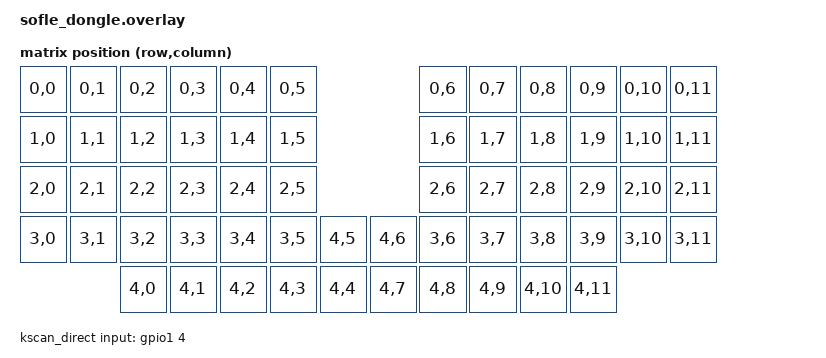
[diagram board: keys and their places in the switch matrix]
#include <dt-bindings/zmk/matrix_transform.h>
#include <layouts/josefadamcik/sofle.dtsi>
#include <dt-bindings/led/led.h>
#include <zephyr/dt-bindings/i2c/i2c.h>

&josefadamcik_sofle_layout {
    transform = <&default_transform>;
};

/* переопределил шину для подсветки */
&pinctrl {
    spi2_default: spi2_default {
        group1 {
            psels = <NRF_PSEL(SPIM_MOSI, 1, 5)>,
                    <NRF_PSEL(SPIM_SCK,  1, 6)>;
        };
    };

    spi2_sleep: spi2_sleep {
        group1 {
            psels = <NRF_PSEL(SPIM_MOSI, 1, 5)>,
                    <NRF_PSEL(SPIM_SCK,  1, 6)>;
            low-power-enable;
        };
    };
};

/* инициализация подсветки на донгле чтобы использовалась на половинках */
&spi2 {
    compatible = "nordic,nrf-spim";
    status = "okay";

    pinctrl-0 = <&spi2_default>;
    pinctrl-1 = <&spi2_sleep>;
    pinctrl-names = "default", "sleep";

    led_strip: ws2812@0 {
        compatible = "worldsemi,ws2812-spi";
        reg = <0>;
        spi-max-frequency = <1000000>;
        chain-length = <1>;
        spi-one-frame = <0x70>;
        spi-zero-frame = <0x40>;
        color-mapping = <LED_COLOR_ID_GREEN LED_COLOR_ID_RED LED_COLOR_ID_BLUE>;
        status = "okay";
    };
};


&i2c1 {
    status = "okay";
    clock-frequency = <I2C_BITRATE_FAST>;
    tps43: iqs5xx@74 {
        status = "okay";
        compatible = "azoteq,iqs5xx";
        reg = <0x74>;

        one-finger-tap = <true>;
        press-and-hold = <true>;
        press-and-hold-time = <250>;
        two-finger-tap;

        scroll = <true>;
        natural-scroll-y = <true>;
        natural-scroll-x = <true>;

        bottom-beta = <5>;
        stationary-threshold = <5>;

        switch-xy = <false>;

        reset-gpios = <&pro_micro 14 GPIO_ACTIVE_LOW>;
        rdy-gpios = <&pro_micro 15 GPIO_ACTIVE_HIGH>;
        // rdy-gpios = <&pro_micro 15 (GPIO_ACTIVE_LOW | GPIO_PULL_UP)>;
    };
};

/ {
    chosen {
        zmk,kscan = &kscan_direct;
        zmk,physical-layout = &josefadamcik_sofle_layout;
        zmk,underglow = &led_strip;
    };

    default_transform: keymap_transform_0 {
        compatible = "zmk,matrix-transform";
        columns = <16>;
        rows = <4>;
// | SW6  | SW5  | SW4  | SW3  | SW2  | SW1  |                 | SW1  | SW2  | SW3  | SW4  | SW5  | SW6  |
// | SW12 | SW11 | SW10 | SW9  | SW8  | SW7  |                 | SW7  | SW8  | SW9  | SW10 | SW11 | SW12 |
// | SW18 | SW17 | SW16 | SW15 | SW14 | SW13 |                 | SW13 | SW14 | SW15 | SW16 | SW17 | SW18 |
// | SW24 | SW23 | SW22 | SW21 | SW20 | SW19 | SW25 |   | SW25 | SW19 | SW20 | SW21 | SW22 | SW23 | SW24 |
//               | SW30 | SW29 | SW28 | SW27 | SW26 |   | SW26 | SW27 | SW28 | SW29 | SW30 |
        map = <
RC(0,0) RC(0,1) RC(0,2) RC(0,3) RC(0,4) RC(0,5)                 RC(0,6) RC(0,7) RC(0,8)  RC(0,9) RC(0,10) RC(0,11)
RC(1,0) RC(1,1) RC(1,2) RC(1,3) RC(1,4) RC(1,5)                 RC(1,6) RC(1,7) RC(1,8)  RC(1,9) RC(1,10) RC(1,11)
RC(2,0) RC(2,1) RC(2,2) RC(2,3) RC(2,4) RC(2,5)                 RC(2,6) RC(2,7) RC(2,8)  RC(2,9) RC(2,10) RC(2,11)
RC(3,0) RC(3,1) RC(3,2) RC(3,3) RC(3,4) RC(3,5) RC(4,5) RC(4,6) RC(3,6) RC(3,7) RC(3,8)  RC(3,9) RC(3,10) RC(3,11)
                RC(4,0) RC(4,1) RC(4,2) RC(4,3) RC(4,4) RC(4,7) RC(4,8) RC(4,9) RC(4,10) RC(4,11)
        >;
    };


    kscan_direct: kscan_direct {
        compatible = "zmk,kscan-gpio-direct";
        wakeup-source;

        input-gpios
        = <&gpio1 4 (GPIO_ACTIVE_LOW | GPIO_PULL_UP)>;

    };

    tps43_input: tps43_input {
        compatible = "zmk,input-listener";
        device = <&tps43>;
    };

    /* --------------------
    // mock_kscan dont use
    mock_kscan: mock_kscan_0 {
        compatible = "zmk,kscan-mock";
        columns = <0>;
        rows = <0>;
        events = <0>;
    };
    * /

    left_encoder: encoder_left {
        compatible = "alps,ec11";
        a-gpios = <&pro_micro 21 (GPIO_ACTIVE_HIGH | GPIO_PULL_UP)>;
        b-gpios = <&pro_micro 20 (GPIO_ACTIVE_HIGH | GPIO_PULL_UP)>;
        steps = <80>;
        status = "okay";
    };

    right_encoder: encoder_right {
        compatible = "alps,ec11";
        a-gpios = <&pro_micro 20 (GPIO_ACTIVE_HIGH | GPIO_PULL_UP)>;
        b-gpios = <&pro_micro 21 (GPIO_ACTIVE_HIGH | GPIO_PULL_UP)>;
        steps = <80>;
        status = "okay";
    };

    sensors: sensors {
        compatible = "zmk,keymap-sensors";
        sensors = <&left_encoder &right_encoder>;
        triggers-per-rotation = <10>;
    };
};
